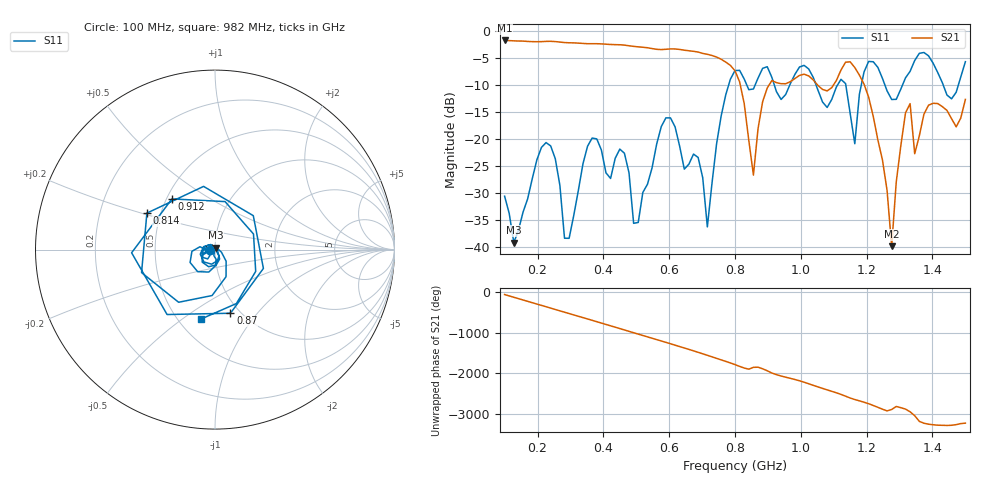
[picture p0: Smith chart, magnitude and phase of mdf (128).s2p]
! NanoVNA-App
! Date: 2025-09-26 09:40:44
! Start: 100MHz Stop: 1,5GHz Points: 101
! S-Parameter data: F S11 S21 S12 S22
# Hz S RI R 50
!  Frequency  S11_Real  S11_Imag  S21_Real  S21_Imag  S12_Real  S12_Imag  S22_Real  S22_Imag
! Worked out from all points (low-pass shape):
!   101 points, 100 MHz to 1.5 GHz, reference 50 ohm
!   highest |S21| = -1.79 dB at 100 MHz (marker M1); lowest = -39.9 dB at 1.276 GHz (marker M2)
!   |S21| within 3 dB of the highest: start of sweep to 740.5 MHz
!   lowest |S11| = -39.2 dB at 128 MHz (marker M3), VSWR 1.02, Z = 50.3 + j1.07 ohm
!   |S11| at or under -10 dB: start of sweep to 780.9 MHz; 1.046 GHz to 1.112 GHz (65.87 MHz wide, 6.1 % of centre); 1.255 GHz to 1.309 GHz (53.98 MHz wide, 4.21 % of centre)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
!   S12 and S22 are empty: the file has one direction only
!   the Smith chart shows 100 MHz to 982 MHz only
!   S11 on the Smith chart (normalised r, x): 100 MHz: 0.94, -0.01; 814 MHz: 0.42, +0.21; 870 MHz: 0.90, -0.74; 912 MHz: 0.53, +0.35; 982 MHz: 0.64, -0.59
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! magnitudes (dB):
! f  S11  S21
! 100 MHz  -30.6  -1.8
! 128 MHz  -39.2  -1.9
! 212 MHz  -21.6  -2.0
! 282 MHz  -38.4  -2.2
! 338 MHz  -24.6  -2.3
! 464 MHz  -22.7  -2.6
! 506 MHz  -35.5  -3.0
! 576 MHz  -17.7  -3.5
! 716 MHz  -36.3  -4.3
! 800 MHz  -7.4  -7.4
! 814 MHz  -7.3  -9.5
! 856 MHz  -10.8  -26.7
! 870 MHz  -8.8  -18.1
! 912 MHz  -8.6  -9.2
! 982 MHz  -8.1  -8.8
! 1.038 GHz  -8.7  -9.1
! 1.164 GHz  -20.9  -6.8
! 1.192 GHz  -7.6  -9.9
! 1.276 GHz  -12.7  -39.9
! 1.332 GHz  -7.5  -13.5
! 1.346 GHz  -5.5  -22.8
! 1.5 GHz  -5.7  -12.7
